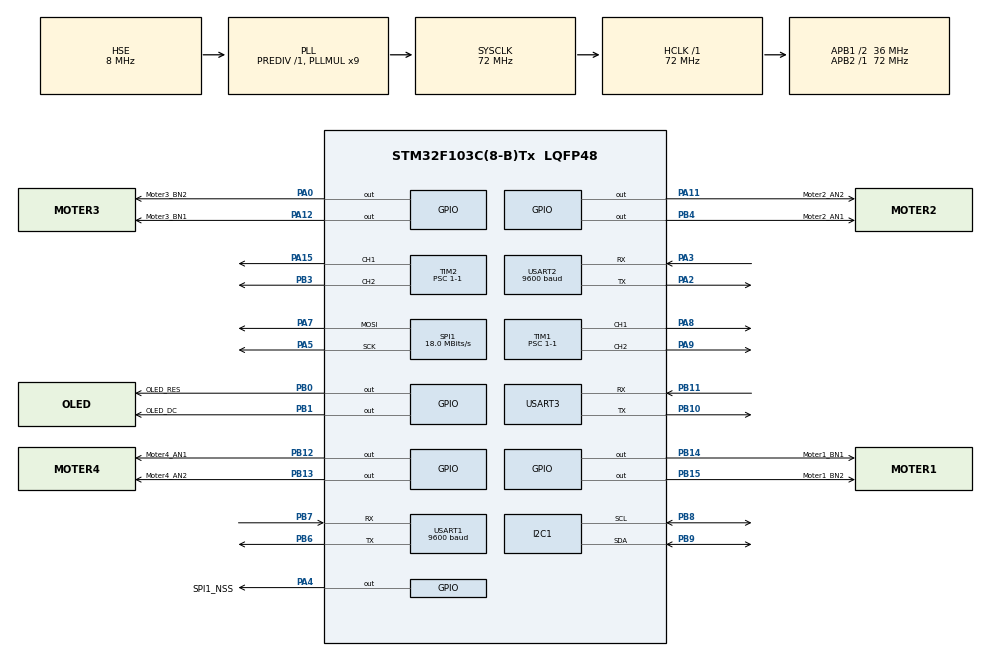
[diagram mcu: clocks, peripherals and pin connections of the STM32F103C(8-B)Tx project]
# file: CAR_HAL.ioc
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I2C1.I2C_Mode=I2C_Fast
Mcu.Family=STM32F1
Mcu.Name=STM32F103C(8-B)Tx
Mcu.Package=LQFP48
NVIC.PriorityGroup=NVIC_PRIORITYGROUP_4
NVIC.USART1_IRQn=true\:5\:0\:true\:false\:true\:true\:true\:true
NVIC.USART2_IRQn=true\:5\:0\:true\:false\:true\:true\:true\:true
NVIC.USART3_IRQn=true\:5\:0\:true\:false\:true\:true\:true\:true
PA0-WKUP.GPIO_Label=Moter3_BN2
PA0-WKUP.GPIO_Speed=GPIO_SPEED_FREQ_HIGH
PA0-WKUP.PinState=GPIO_PIN_SET
PA0-WKUP.Signal=GPIO_Output
PA11.GPIO_Label=Moter2_AN2
PA11.GPIO_Speed=GPIO_SPEED_FREQ_HIGH
PA11.PinState=GPIO_PIN_SET
PA11.Signal=GPIO_Output
PA12.GPIO_Label=Moter3_BN1
PA12.GPIO_Speed=GPIO_SPEED_FREQ_HIGH
PA12.PinState=GPIO_PIN_SET
PA12.Signal=GPIO_Output
PA13.Mode=Serial_Wire
PA13.Signal=SYS_JTMS-SWDIO
PA14.Mode=Serial_Wire
PA14.Signal=SYS_JTCK-SWCLK
PA15.Signal=S_TIM2_CH1_ETR
PA2.Mode=Asynchronous
PA2.Signal=USART2_TX
PA3.Mode=Asynchronous
PA3.Signal=USART2_RX
PA4.GPIO_Label=SPI1_NSS
PA4.GPIO_Speed=GPIO_SPEED_FREQ_HIGH
PA4.PinState=GPIO_PIN_SET
PA4.Signal=GPIO_Output
PA5.Mode=TX_Only_Simplex_Unidirect_Master
PA5.Signal=SPI1_SCK
PA6.Signal=S_TIM3_CH1
PA7.Mode=TX_Only_Simplex_Unidirect_Master
PA7.Signal=SPI1_MOSI
PA8.Signal=S_TIM1_CH1
PA9.Signal=S_TIM1_CH2
PB0.GPIO_Label=OLED_RES
PB0.GPIO_Speed=GPIO_SPEED_FREQ_HIGH
PB0.PinState=GPIO_PIN_SET
PB0.Signal=GPIO_Output
PB1.GPIO_Label=OLED_DC
PB1.GPIO_Speed=GPIO_SPEED_FREQ_HIGH
PB1.PinState=GPIO_PIN_SET
PB1.Signal=GPIO_Output
PB10.Mode=Asynchronous
PB10.Signal=USART3_TX
PB11.Mode=Asynchronous
PB11.Signal=USART3_RX
PB12.GPIO_Label=Moter4_AN1
PB12.GPIO_Speed=GPIO_SPEED_FREQ_HIGH
PB12.PinState=GPIO_PIN_SET
PB12.Signal=GPIO_Output
PB13.GPIO_Label=Moter4_AN2
PB13.GPIO_Speed=GPIO_SPEED_FREQ_HIGH
PB13.PinState=GPIO_PIN_SET
PB13.Signal=GPIO_Output
PB14.GPIO_Label=Moter1_BN1
PB14.GPIO_Speed=GPIO_SPEED_FREQ_HIGH
PB14.PinState=GPIO_PIN_SET
PB14.Signal=GPIO_Output
PB15.GPIO_Label=Moter1_BN2
PB15.GPIO_Speed=GPIO_SPEED_FREQ_HIGH
PB15.PinState=GPIO_PIN_SET
PB15.Signal=GPIO_Output
PB3.Signal=S_TIM2_CH2
PB4.GPIO_Label=Moter2_AN1
PB4.GPIO_Speed=GPIO_SPEED_FREQ_HIGH
PB4.PinState=GPIO_PIN_SET
PB4.Signal=GPIO_Output
PB6.Mode=Asynchronous
PB6.Signal=USART1_TX
PB7.Mode=Asynchronous
PB7.Signal=USART1_RX
PB8.Mode=I2C
PB8.Signal=I2C1_SCL
PB9.Mode=I2C
PB9.Signal=I2C1_SDA
PC14-OSC32_IN.Mode=LSE-External-Oscillator
PC14-OSC32_IN.Signal=RCC_OSC32_IN
PC15-OSC32_OUT.Mode=LSE-External-Oscillator
PC15-OSC32_OUT.Signal=RCC_OSC32_OUT
PD0-OSC_IN.Mode=HSE-External-Oscillator
PD0-OSC_IN.Signal=RCC_OSC_IN
PD1-OSC_OUT.Mode=HSE-External-Oscillator
PD1-OSC_OUT.Signal=RCC_OSC_OUT
ProjectManager.HeapSize=0x200
ProjectManager.StackSize=0x400
ProjectManager.TargetToolchain=MDK-ARM V5.32
RCC.ADCPresc=RCC_ADCPCLK2_DIV6
RCC.AHBFreq_Value=72000000
RCC.APB1CLKDivider=RCC_HCLK_DIV2
RCC.APB1Freq_Value=36000000
RCC.APB1TimFreq_Value=72000000
RCC.APB2Freq_Value=72000000
RCC.APB2TimFreq_Value=72000000
RCC.HCLKFreq_Value=72000000
RCC.PLLMUL=RCC_PLL_MUL9
RCC.PLLSourceVirtual=RCC_PLLSOURCE_HSE
RCC.SYSCLKFreq_VALUE=72000000
RCC.SYSCLKSource=RCC_SYSCLKSOURCE_PLLCLK
RCC.USBFreq_Value=72000000
SH.S_TIM1_CH1.0=TIM1_CH1,PWM Generation1 CH1
SH.S_TIM1_CH2.0=TIM1_CH2,PWM Generation2 CH2
SH.S_TIM2_CH1_ETR.0=TIM2_CH1,PWM Generation1 CH1
SH.S_TIM2_CH2.0=TIM2_CH2,PWM Generation2 CH2
SH.S_TIM3_CH1.0=TIM3_CH1
SPI1.BaudRatePrescaler=SPI_BAUDRATEPRESCALER_4
SPI1.CalculateBaudRate=18.0 MBits/s
SPI1.Direction=SPI_DIRECTION_2LINES
SPI1.Mode=SPI_MODE_MASTER
SPI1.VirtualType=VM_MASTER
TIM1.Channel-PWM\ Generation1\ CH1=TIM_CHANNEL_1
TIM1.Channel-PWM\ Generation2\ CH2=TIM_CHANNEL_2
TIM1.Period=7200-1
TIM1.Prescaler=1-1
TIM2.Channel-PWM\ Generation1\ CH1=TIM_CHANNEL_1
TIM2.Channel-PWM\ Generation2\ CH2=TIM_CHANNEL_2
TIM2.Period=7200-1
TIM2.Prescaler=1-1
USART1.BaudRate=9600
USART1.VirtualMode=VM_ASYNC
USART2.BaudRate=9600
USART2.VirtualMode=VM_ASYNC
USART3.VirtualMode=VM_ASYNC
VP_TIM1_VS_ClockSourceINT.Mode=Internal
VP_TIM2_VS_ClockSourceINT.Mode=Internal
board=custom

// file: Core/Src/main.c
/* USER CODE BEGIN Header */
/**
 ******************************************************************************
 * @file           : main.c
 * @brief          : Main program body
 ******************************************************************************
 * @attention
 *
 * Copyright (c) 2024 STMicroelectronics.
 * All rights reserved.
 *
 * This software is licensed under terms that can be found in the LICENSE file
 * in the root directory of this software component.
 * If no LICENSE file comes with this software, it is provided AS-IS.
 *
 ******************************************************************************
 */
/* USER CODE END Header */
#include "main.h"
#include "i2c.h"
#include "spi.h"
#include "tim.h"
#include "usart.h"
#include "gpio.h"
#include "bluetooth.h"
#include "App_Drone.h"
#include "IMU.h"
#include "Int_TB6612.h"
#include "Com_PID.h"

/* USER CODE BEGIN Includes */

#include "Int_MPU6050.h"
// #include "Int_TOF050C.h"
#include "Int_TOF400F.h"
#include "oled.h"
/* USER CODE END Includes */

/* USER CODE BEGIN PV */
uint8_t buff_uart1[1];
uint8_t buff_uart2[1];

extern uint16_t MPU_Offset[6];

/* USER CODE END PV */

void SystemClock_Config(void);

int main(void)
{

  /* MCU Configuration--------------------------------------------------------*/

  /* Reset of all peripherals, Initializes the Flash interface and the Systick. */
  HAL_Init();

  /* Configure the system clock */
  SystemClock_Config();

  /* Initialize all configured peripherals */
  MX_GPIO_Init();
  MX_SPI1_Init();
  MX_TIM2_Init();
  MX_USART2_UART_Init();
  MX_TIM1_Init();
  MX_I2C1_Init();
  MX_USART1_UART_Init();
  MX_USART3_UART_Init();
  /* USER CODE BEGIN 2 */

  /* 启动TIM1和TIM2的PWM模式 */
  HAL_TIM_PWM_Start(&htim1, TIM_CHANNEL_1);
  HAL_TIM_PWM_Start(&htim1, TIM_CHANNEL_2);
  HAL_TIM_PWM_Start(&htim2, TIM_CHANNEL_1);
  HAL_TIM_PWM_Start(&htim2, TIM_CHANNEL_2);
  /* 启动串口1��??2的接收中��?? */
  HAL_UART_Receive_IT(&huart1, buff_uart1, 1);
  HAL_UART_Receive_IT(&huart2, buff_uart2, 1);

  /* 初始化MPU6050 */
  Int_MPU6050_Init();
  Int_MPU6050_WhoAmI();
  App_Flight_MPU_Offsets();

  Int_TB6612_All_Motor();
  /* 对应第一、 二、三、四*/
  // Int_TB6612_SetPWM(500,500,500,500);
  BT_Control_Angle.throttle = 400;
  BT_Control_Angle.BTpitch  = 0;
  BT_Control_Angle.BTroll   = 0;
  BT_Control_Angle.BTyaw    = 0;

  /* 初始��? TOF400F ��?光测距传感器 (UART3: PB10=TX, PB11=RX, Modbus RTU) */
  Int_TOF400F_Init();

  /* USER CODE END 2 */

  /* Infinite loop */
  /* USER CODE BEGIN WHILE */

  PID_Reset(pids, 6);
  uint32_t next     = HAL_GetTick() + 10;  /* 固定 10ms 控制节拍（100Hz，匹配 MPU6050 采样率） */
  uint32_t next_dbg = HAL_GetTick() + 200; /* 调试打印节拍 200ms（5Hz），慢速不拖控制环 */
  while (1)
  {
    Bluetooth_Control(); /* 每圈都查，命令不漏 */

    if (HAL_GetTick() >= next) /* 到 10ms 才跑一次控制环 */
    {
      next += 10; /* +=10 避免累积漂移 */

      App_Flight_MPU_DATA();              /* 1. 读 IMU */
      GetAngle(&MPU6050, &Angle, 0.01f); /* 2. 算姿态角（dt=10ms） */
      App_Flight_PID__Control(0.01f);    /* 3. 串级 PID */
      App_Flight_Motor_Control();         /* 4. 混控输出 */
    }

    if (HAL_GetTick() >= next_dbg)         /* 慢速打印，不碰 10ms 控制节拍 */
    {
      next_dbg += 200;
      printf("thr=%d pit=%d rol=%d yaw=%d | P=%d R=%d Y=%d (deg*10)\r\n",
             (int)BT_Control_Angle.throttle,
             (int)BT_Control_Angle.BTpitch,
             (int)BT_Control_Angle.BTroll,
             (int)BT_Control_Angle.BTyaw,
             (int)(Angle.pitch * 10),
             (int)(Angle.roll * 10),
             (int)(Angle.yaw * 10));
    }

    /* USER CODE END WHILE */

  }
}
void SystemClock_Config(void)
{
  RCC_OscInitTypeDef RCC_OscInitStruct = {0};
  RCC_ClkInitTypeDef RCC_ClkInitStruct = {0};

  /** Initializes the RCC Oscillators according to the specified parameters
   * in the RCC_OscInitTypeDef structure.
   */
  RCC_OscInitStruct.OscillatorType = RCC_OSCILLATORTYPE_HSE;
  RCC_OscInitStruct.HSEState = RCC_HSE_ON;
  RCC_OscInitStruct.HSEPredivValue = RCC_HSE_PREDIV_DIV1;
  RCC_OscInitStruct.HSIState = RCC_HSI_ON;
  RCC_OscInitStruct.PLL.PLLState = RCC_PLL_ON;
  RCC_OscInitStruct.PLL.PLLSource = RCC_PLLSOURCE_HSE;
  RCC_OscInitStruct.PLL.PLLMUL = RCC_PLL_MUL9;
  if (HAL_RCC_OscConfig(&RCC_OscInitStruct) != HAL_OK)
  {
    Error_Handler();
  }

  /** Initializes the CPU, AHB and APB buses clocks
   */
  RCC_ClkInitStruct.ClockType = RCC_CLOCKTYPE_HCLK | RCC_CLOCKTYPE_SYSCLK | RCC_CLOCKTYPE_PCLK1 | RCC_CLOCKTYPE_PCLK2;
  RCC_ClkInitStruct.SYSCLKSource = RCC_SYSCLKSOURCE_PLLCLK;
  RCC_ClkInitStruct.AHBCLKDivider = RCC_SYSCLK_DIV1;
  RCC_ClkInitStruct.APB1CLKDivider = RCC_HCLK_DIV2;
  RCC_ClkInitStruct.APB2CLKDivider = RCC_HCLK_DIV1;

  if (HAL_RCC_ClockConfig(&RCC_ClkInitStruct, FLASH_LATENCY_2) != HAL_OK)
  {
    Error_Handler();
  }
}

void Error_Handler(void)
{
  __disable_irq();
  while (1)
  {
  }
}
